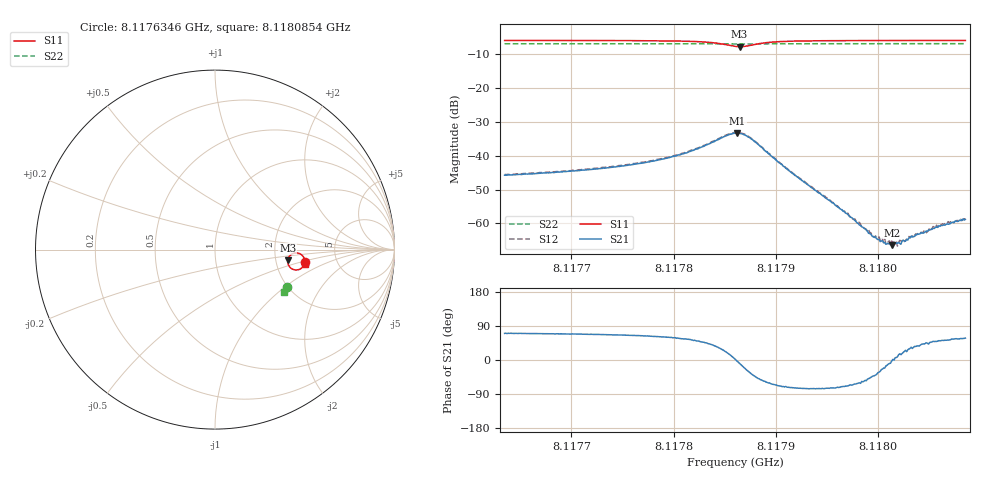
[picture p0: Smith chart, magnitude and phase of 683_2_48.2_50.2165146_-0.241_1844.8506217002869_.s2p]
#  HZ  S  RI  R  50.00
! Rohde & Schwarz Vector Network Analyzer
! Rohde-Schwarz,ZNB20-2Port,1311601062101988,3.16
! Created: UTC 3/20/2024, 12:06:43 PM
! freq[Hz]  re:S11  im:S11  re:S21  im:S21  re:S12  im:S12  re:S22  im:S22
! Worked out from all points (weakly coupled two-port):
!   401 points, 8.1176346 GHz to 8.1180854 GHz, reference 50 ohm
!   highest |S21| = -33.28 dB at 8.1178623 GHz (marker M1); lowest = -66.4 dB at 8.1180133 GHz (marker M2)
!   lowest |S11| = -7.8 dB at 8.1178645 GHz (marker M3), VSWR 2.39, Z = 116 - j16.8 ohm
!   |S11| at or under -10 dB: nowhere
!   |S22| runs from -7.0 to -6.9 dB; largest |S21 - S12| = 0.0007
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8.11763462e9  0.5023 -0.0666  0.00174 0.00485  0.00178 0.005  0.4011 -0.2102
8.11771013e9  0.4997 -0.0763  0.00227 0.00569  0.00238 0.0058  0.3989 -0.2152
8.11775295e9  0.4967 -0.0841  0.00294 0.00652  0.00306 0.00668  0.3973 -0.2179
8.11778564e9  0.4921 -0.0925  0.00412 0.00762  0.00426 0.0078  0.396 -0.2202
8.11781268e9  0.4825 -0.1027  0.0063 0.00904  0.00654 0.00937  0.3946 -0.2221
8.11784424e9  0.4434 -0.1127  0.0148 0.00932  0.0153 0.00959  0.3918 -0.2239
8.11786002e9  0.4068 -0.0797  0.0215 0.001  0.0221 0.000704  0.3901 -0.2229
8.11786227e9  0.4048 -0.0702  0.0216 -0.00126  0.022 -0.00154  0.39 -0.2226
8.11786453e9  0.4051 -0.0602  0.0212 -0.00338  0.0216 -0.00361  0.3901 -0.2223
8.1178758e9  0.4308 -0.0236  0.0144 -0.0105  0.0146 -0.0109  0.3914 -0.2215
8.11789834e9  0.4806 -0.0277  0.00389 -0.00835  0.00391 -0.00846  0.3928 -0.2239
8.11793553e9  0.4978 -0.0511  0.000827 -0.00324  0.000869 -0.00335  0.3922 -0.2273
8.11796821e9  0.5003 -0.0621  0.00051 -0.00133  0.00051 -0.00133  0.3912 -0.2297
8.11799639e9  0.5008 -0.0682  0.000471 -0.000415  0.000454 -0.000422  0.3901 -0.2317
8.11800766e9  0.5008 -0.0703  0.000474 -0.000134  0.000475 -0.000145  0.3898 -0.2323
8.11801104e9  0.501 -0.071  0.000484 -7.88e-05  0.000547 -8.34e-05  0.3896 -0.2326
8.11801329e9  0.5009 -0.0713  0.00048 -2.42e-05  0.000545 -6e-05  0.3897 -0.2328
8.11802118e9  0.5007 -0.0726  0.000485 0.000143  0.000549 0.000124  0.3894 -0.2333
8.11803921e9  0.5006 -0.0753  0.000551 0.000416  0.000575 0.00043  0.3887 -0.2344
8.1180471e9  0.5006 -0.0765  0.000543 0.000552  0.000517 0.00051  0.3885 -0.2349
8.11805274e9  0.5005 -0.0773  0.000551 0.000605  0.000566 0.000617  0.3882 -0.2353
8.11808542e9  0.5 -0.0814  0.000615 0.000973  0.000653 0.000955  0.3871 -0.2374
